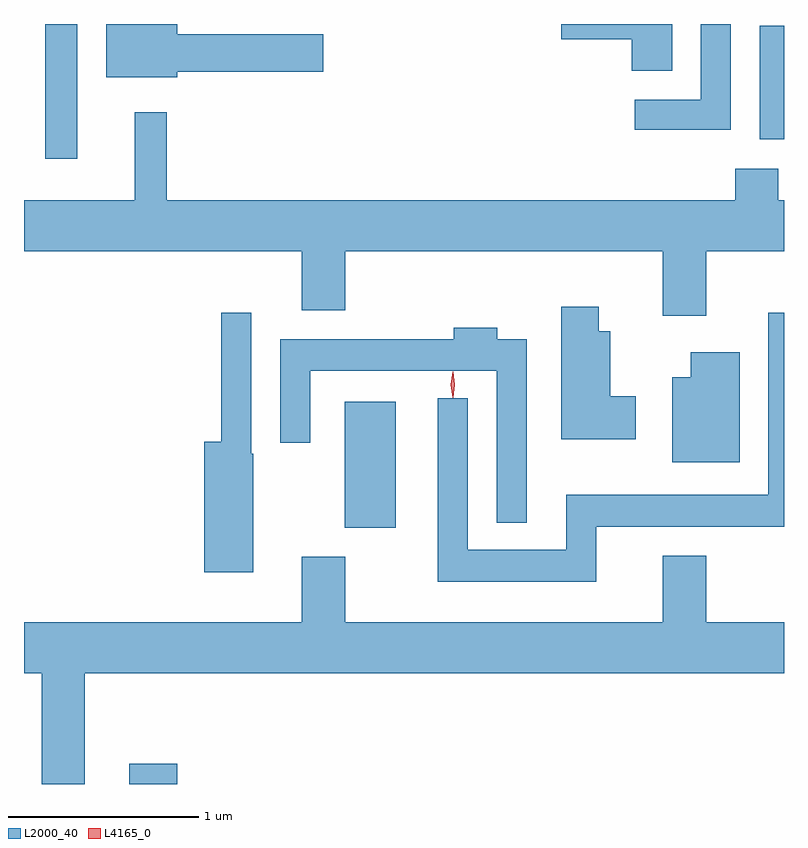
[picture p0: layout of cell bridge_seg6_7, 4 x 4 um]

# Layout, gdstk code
import gdstk
lib = gdstk.Library(unit=1e-6, precision=1e-09)
def R(c, l, rs):  # rectangles x0, y0, x1, y1
    for r in rs: c.add(gdstk.rectangle(r[:2], r[2:], *l))
def P(c, l, *ps):  # polygons
    for p in ps: c.add(gdstk.Polygon(p, *l))
L2000_40 = (2000, 40)
L4165_0 = (4165, 0)

bridge_seg6_7 = lib.new_cell('bridge_seg6_7')
R(bridge_seg6_7, L2000_40, [(1475.461,1638.252,1475.714,1638.359), (1476.596,1639.601,1476.864,1640.264), (1475.021,1641.543,1475.189,1642.252), (1478.781,1641.646,1478.908,1642.244)])
P(bridge_seg6_7, L2000_40, [(1478.629,1642.252),(1478.471,1642.252),(1478.471,1641.854),(1478.123,1641.854),(1478.123,1641.696),(1478.629,1641.696)],
  [(1475.714,1642.001),(1476.484,1642.001),(1476.484,1642.199),(1475.714,1642.199),(1475.714,1642.252),(1475.341,1642.252),(1475.341,1641.971),(1475.714,1641.971)],
  [(1478.319,1642.252),(1477.736,1642.252),(1477.736,1642.171),(1478.106,1642.171),(1478.106,1642.006),(1478.319,1642.006)],
  [(1478.499,1641.056),(1478.908,1641.056),(1478.908,1641.324),(1478.879,1641.324),(1478.879,1641.489),(1478.651,1641.489),(1478.651,1641.324),(1475.659,1641.324),(1475.659,1641.788),(1475.491,1641.788),(1475.491,1641.324),(1474.908,1641.324),(1474.908,1641.056),(1476.371,1641.056),(1476.371,1640.746),(1476.599,1640.746),(1476.599,1641.056),(1478.271,1641.056),(1478.271,1640.716),(1478.499,1640.716)],
  [(1478.129,1640.294),(1477.994,1640.294),(1477.994,1640.634),(1477.934,1640.634),(1477.934,1640.764),(1477.736,1640.764),(1477.736,1640.066),(1478.129,1640.066)],
  [(1477.919,1639.606),(1478.908,1639.606),(1478.908,1640.733),(1478.826,1640.733),(1478.826,1639.774),(1477.761,1639.774),(1477.761,1639.484),(1477.244,1639.484),(1477.244,1640.283),(1477.086,1640.283),(1477.086,1639.316),(1477.919,1639.316)],
  [(1476.114,1639.99),(1476.104,1639.99),(1476.104,1640.733),(1475.946,1640.733),(1475.946,1640.054),(1475.856,1640.054),(1475.856,1639.366),(1476.114,1639.366)],
  [(1477.554,1640.594),(1477.399,1640.594),(1477.399,1640.654),(1477.171,1640.654),(1477.171,1640.594),(1476.256,1640.594),(1476.256,1640.048),(1476.414,1640.048),(1476.414,1640.426),(1477.396,1640.426),(1477.396,1639.628),(1477.554,1639.628)],
  [(1478.674,1640.524),(1478.416,1640.524),(1478.416,1640.394),(1478.321,1640.394),(1478.321,1639.946),(1478.674,1639.946)],
  [(1475.229,1638.836),(1478.908,1638.836),(1478.908,1639.104),(1478.499,1639.104),(1478.499,1639.454),(1478.271,1639.454),(1478.271,1639.104),(1476.599,1639.104),(1476.599,1639.449),(1476.371,1639.449),(1476.371,1639.104),(1474.908,1639.104),(1474.908,1638.836),(1475.001,1638.836),(1475.001,1638.252),(1475.229,1638.252)])
P(bridge_seg6_7, L4165_0, [(1477.164,1640.284),(1477.155,1640.353),(1477.164,1640.422),(1477.165,1640.423),(1477.166,1640.422),(1477.175,1640.353),(1477.166,1640.284),(1477.165,1640.284)],
  [(1477.164,1640.287),(1477.164,1640.288),(1477.154,1640.354),(1477.164,1640.42),(1477.164,1640.42),(1477.165,1640.42),(1477.174,1640.354),(1477.165,1640.288)])

lib.write_gds('bridge_seg6_7.gds')
